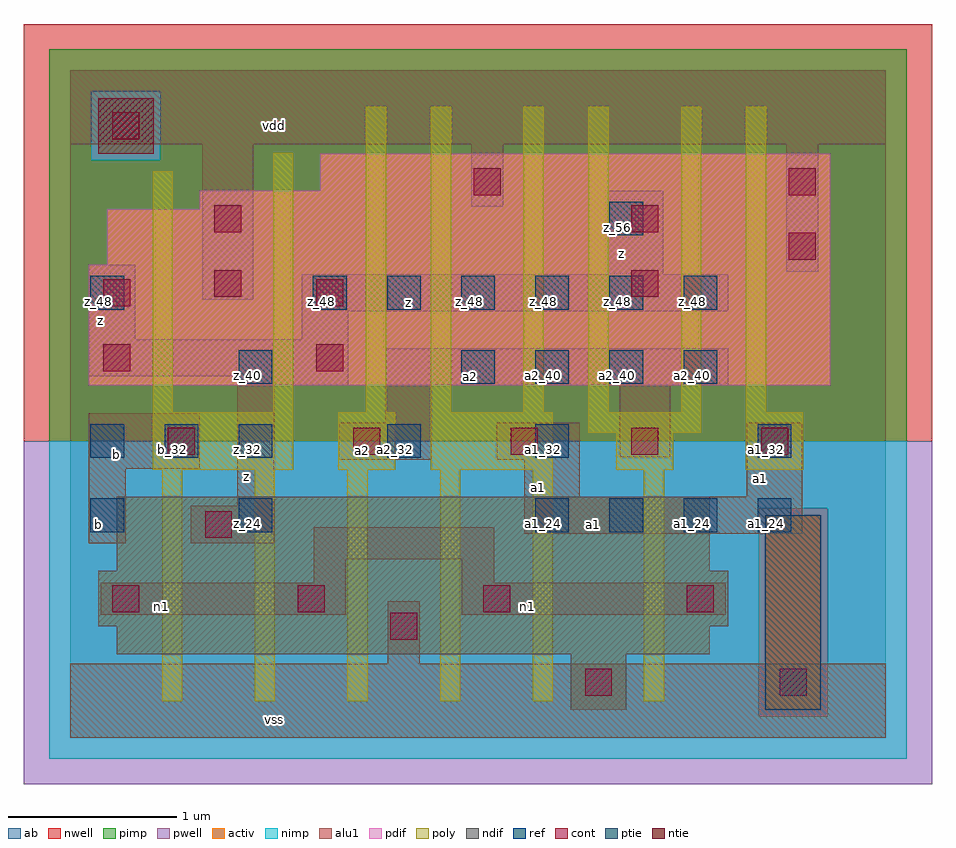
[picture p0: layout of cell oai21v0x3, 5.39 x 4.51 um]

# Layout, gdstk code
import gdstk
lib = gdstk.Library(unit=1e-6, precision=2.5e-09)
def R(c, l, rs):  # rectangles x0, y0, x1, y1
    for r in rs: c.add(gdstk.rectangle(r[:2], r[2:], *l))
def A(c, l, x, y, w, h, nx, ny, dx, dy):  # array of equal rectangles
    R(c, l, [(x+i*dx, y+j*dy, x+i*dx+w, y+j*dy+h) for i in range(nx) for j in range(ny)])
ndif = (3, 0)
pdif = (4, 0)
ntie = (5, 0)
ptie = (6, 0)
ref = (24, 0)
cont = (25, 0)
pwell = (41, 0)
nwell = (42, 0)
activ = (43, 0)
pimp = (44, 0)
nimp = (45, 0)
poly = (46, 0)
alu1 = (49, 0)
ab = (63, 0)

oai21v0x3 = lib.new_cell('oai21v0x3')
R(oai21v0x3, ndif, [(2.97,0.165,3.3,0.495), (0.275,0.495,3.795,0.66), (0.165,0.66,3.905,0.99), (0.275,0.99,3.795,1.43)])
R(oai21v0x3, pdif, [(0.11,2.09,4.51,2.805), (0.22,2.805,4.51,3.135), (0.77,3.135,4.51,3.245), (1.485,3.245,4.51,3.465)])
R(oai21v0x3, ntie, [(0.165,3.465,0.495,3.795)])
R(oai21v0x3, ptie, [(4.125,0.165,4.455,1.32)])
A(oai21v0x3, ref, 2.76, 1.22, 0.2, 0.2, 4, 1, 0.44, 0)
A(oai21v0x3, ref, 0.12, 1.66, 0.2, 0.2, 3, 1, 0.44, 0)
A(oai21v0x3, ref, 2.32, 2.1, 0.2, 0.2, 4, 1, 0.44, 0)
A(oai21v0x3, ref, 1.44, 2.54, 0.2, 0.2, 6, 1, 0.44, 0)
R(oai21v0x3, ref, [(0.12,1.22,0.32,1.42), (1,1.22,1.2,1.42), (1.88,1.66,2.08,1.86), (2.76,1.66,2.96,1.86), (4.08,1.66,4.28,1.86), (1,2.1,1.2,2.3), (0.12,2.54,0.32,2.74), (3.2,2.98,3.4,3.18)])
A(oai21v0x3, cont, 0.25, 0.745, 0.16, 0.16, 3, 1, 1.1, 0)
R(oai21v0x3, cont, [(3.055,0.25,3.215,0.41), (4.21,0.25,4.37,0.41), (1.9,0.58,2.06,0.74), (3.66,0.745,3.82,0.905), (0.8,1.185,0.96,1.345), (0.58,1.68,0.74,1.84), (1.68,1.68,1.84,1.84), (2.615,1.68,2.775,1.84), (3.33,1.68,3.49,1.84), (4.1,1.68,4.26,1.84), (0.195,2.175,0.355,2.335), (1.46,2.175,1.62,2.335), (0.195,2.56,0.355,2.72), (1.46,2.56,1.62,2.72), (0.855,2.615,1.015,2.775), (3.33,2.615,3.49,2.775), (4.265,2.835,4.425,2.995), (0.855,3,1.015,3.16), (3.33,3,3.49,3.16), (2.395,3.22,2.555,3.38), (4.265,3.22,4.425,3.38), (0.25,3.55,0.41,3.71)])
R(oai21v0x3, pwell, [(-0.275,-0.275,5.115,1.76)])
R(oai21v0x3, nwell, [(-0.275,1.76,5.115,4.235)])
R(oai21v0x3, activ, [(2.97,0.165,3.3,0.495), (4.125,0.165,4.455,1.32), (0.275,0.495,3.795,0.66), (0.165,0.66,3.905,0.99), (0.275,0.99,3.795,1.43), (0.11,2.09,4.51,2.805), (0.22,2.805,4.51,3.135), (0.77,3.135,4.51,3.245), (1.485,3.245,4.51,3.465), (0.165,3.465,0.495,3.795)])
R(oai21v0x3, pimp, [(4.085,0.125,4.495,1.36), (-0.125,1.76,4.965,3.425), (-0.125,3.425,0.125,3.835), (0.535,3.425,4.965,3.835), (-0.125,3.835,4.965,4.085)])
R(oai21v0x3, nimp, [(-0.125,-0.125,4.965,0.125), (-0.125,0.125,4.085,1.36), (4.495,0.125,4.965,1.36), (-0.125,1.36,4.965,1.76), (0.125,3.425,0.535,3.835)])
A(oai21v0x3, poly, 0.545, 0.215, 0.12, 1.375, 5, 1, 0.55, 0)
R(oai21v0x3, poly, [(3.405,0.215,3.525,1.59), (0.49,1.59,1.325,1.93), (1.59,1.59,1.93,1.93), (2.14,1.59,2.865,1.93), (3.24,1.59,3.58,1.81), (4.01,1.59,4.35,1.93), (3.075,1.81,3.745,1.93), (0.49,1.93,0.61,3.36), (1.205,1.93,1.325,3.47), (1.755,1.93,1.875,3.745), (2.14,1.93,2.26,3.745), (2.69,1.93,2.81,3.745), (3.075,1.93,3.195,3.745), (3.625,1.93,3.745,3.745), (4.01,1.93,4.13,3.745)])
R(oai21v0x3, alu1, [(0,0,4.84,0.44), (1.885,0.44,2.075,0.81), (0.18,0.73,1.635,0.92), (2.325,0.73,3.89,0.92), (1.445,0.92,1.635,1.06), (2.325,0.92,2.515,1.06), (1.445,1.06,2.515,1.25), (0.11,1.155,0.33,1.595), (0.715,1.155,1.21,1.375), (2.695,1.21,4.345,1.43), (0.99,1.375,1.21,2.09), (2.695,1.43,3.025,1.65), (4.015,1.43,4.345,1.87), (0.11,1.595,0.77,1.925), (1.595,1.65,2.145,1.87), (2.53,1.65,3.025,1.87), (3.26,1.665,3.56,2.09), (1.87,1.87,2.145,2.09), (0.99,2.09,1.65,2.145), (1.87,2.09,3.905,2.31), (0.11,2.145,1.65,2.365), (0.11,2.365,0.385,2.805), (1.375,2.365,1.65,2.53), (1.375,2.53,3.905,2.75), (0.785,2.6,1.085,3.52), (3.19,2.75,3.52,3.245), (4.25,2.765,4.44,3.52), (2.38,3.15,2.57,3.52), (0,3.52,4.84,3.96)])
R(oai21v0x3, ab, [(0,0,4.84,3.96)])
oai21v0x3.add(gdstk.Label('vss', (1.21,0.11), layer=49, texttype=0))
oai21v0x3.add(gdstk.Label('n1', (2.715,0.7775), layer=49, texttype=0))
oai21v0x3.add(gdstk.Label('n1', (0.5425,0.7775), layer=49, texttype=0))
oai21v0x3.add(gdstk.Label('a1', (3.1075,1.265), layer=49, texttype=0))
oai21v0x3.add(gdstk.Label('a1', (4.0975,1.54), layer=49, texttype=0))
oai21v0x3.add(gdstk.Label('a1', (2.7775,1.485), layer=49, texttype=0))
oai21v0x3.add(gdstk.Label('a2', (1.7325,1.705), layer=49, texttype=0))
oai21v0x3.add(gdstk.Label('z', (1.045,1.5525), layer=49, texttype=0))
oai21v0x3.add(gdstk.Label('b', (0.165,1.265), layer=49, texttype=0))
oai21v0x3.add(gdstk.Label('b', (0.275,1.6775), layer=49, texttype=0))
oai21v0x3.add(gdstk.Label('a2', (2.3775,2.145), layer=49, texttype=0))
oai21v0x3.add(gdstk.Label('z', (2.0075,2.585), layer=49, texttype=0))
oai21v0x3.add(gdstk.Label('z', (3.2725,2.8725), layer=49, texttype=0))
oai21v0x3.add(gdstk.Label('z', (0.1775,2.475), layer=49, texttype=0))
oai21v0x3.add(gdstk.Label('vdd', (1.21,3.63), layer=49, texttype=0))
oai21v0x3.add(gdstk.Label('b_32', (0.61,1.71), layer=24, texttype=0))
oai21v0x3.add(gdstk.Label('z_24', (1.05,1.27), layer=24, texttype=0))
oai21v0x3.add(gdstk.Label('z_32', (1.05,1.71), layer=24, texttype=0))
oai21v0x3.add(gdstk.Label('z_40', (1.05,2.15), layer=24, texttype=0))
oai21v0x3.add(gdstk.Label('z_48', (1.49,2.59), layer=24, texttype=0))
oai21v0x3.add(gdstk.Label('a2_32', (1.93,1.71), layer=24, texttype=0))
oai21v0x3.add(gdstk.Label('z_48', (1.93,2.59), layer=24, texttype=0))
oai21v0x3.add(gdstk.Label('b_24', (0.17,1.27), layer=24, texttype=0))
oai21v0x3.add(gdstk.Label('b_32', (0.17,1.71), layer=24, texttype=0))
oai21v0x3.add(gdstk.Label('z_48', (0.17,2.59), layer=24, texttype=0))
oai21v0x3.add(gdstk.Label('a2_40', (2.37,2.15), layer=24, texttype=0))
oai21v0x3.add(gdstk.Label('z_48', (2.37,2.59), layer=24, texttype=0))
oai21v0x3.add(gdstk.Label('a1_24', (2.81,1.27), layer=24, texttype=0))
oai21v0x3.add(gdstk.Label('a1_32', (2.81,1.71), layer=24, texttype=0))
oai21v0x3.add(gdstk.Label('a2_40', (2.81,2.15), layer=24, texttype=0))
oai21v0x3.add(gdstk.Label('z_48', (2.81,2.59), layer=24, texttype=0))
oai21v0x3.add(gdstk.Label('a1_24', (3.25,1.27), layer=24, texttype=0))
oai21v0x3.add(gdstk.Label('a2_40', (3.25,2.15), layer=24, texttype=0))
oai21v0x3.add(gdstk.Label('z_48', (3.25,2.59), layer=24, texttype=0))
oai21v0x3.add(gdstk.Label('z_56', (3.25,3.03), layer=24, texttype=0))
oai21v0x3.add(gdstk.Label('a1_24', (3.69,1.27), layer=24, texttype=0))
oai21v0x3.add(gdstk.Label('a2_40', (3.69,2.15), layer=24, texttype=0))
oai21v0x3.add(gdstk.Label('z_48', (3.69,2.59), layer=24, texttype=0))
oai21v0x3.add(gdstk.Label('a1_24', (4.13,1.27), layer=24, texttype=0))
oai21v0x3.add(gdstk.Label('a1_32', (4.13,1.71), layer=24, texttype=0))

lib.write_gds('oai21v0x3.gds')
